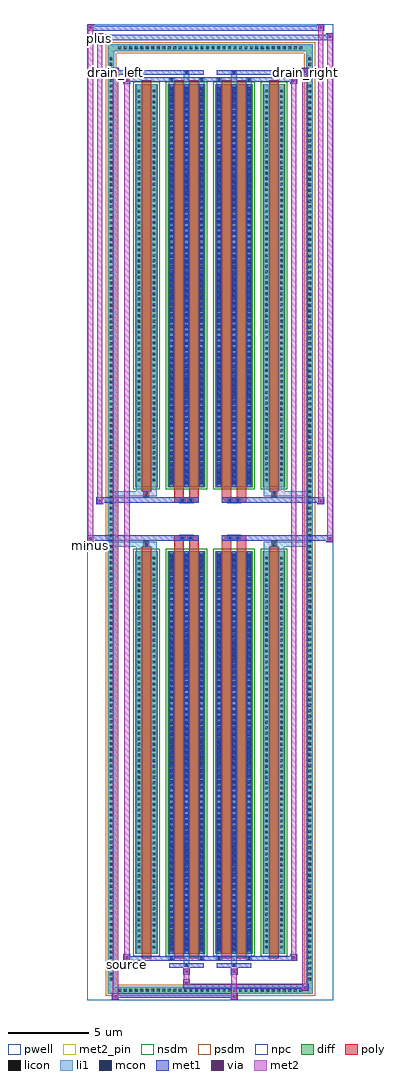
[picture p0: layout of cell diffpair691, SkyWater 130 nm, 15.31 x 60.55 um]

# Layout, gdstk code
import gdstk
lib = gdstk.Library(unit=1e-6, precision=5e-09)
def R(c, l, rs):  # rectangles x0, y0, x1, y1
    for r in rs: c.add(gdstk.rectangle(r[:2], r[2:], *l))
def A(c, l, x, y, w, h, nx, ny, dx, dy):  # array of equal rectangles
    R(c, l, [(x+i*dx, y+j*dy, x+i*dx+w, y+j*dy+h) for i in range(nx) for j in range(ny)])
def P(c, l, *ps):  # polygons
    for p in ps: c.add(gdstk.Polygon(p, *l))
pwell = (64, 44)
diff = (65, 20)
poly = (66, 20)
licon = (66, 44)
li1 = (67, 20)
mcon = (67, 44)
met1 = (68, 20)
via = (68, 44)
met2_pin = (69, 16)
met2 = (69, 20)
nsdm = (93, 44)
psdm = (94, 20)
npc = (95, 20)

diffpair691 = lib.new_cell('diffpair691')
R(diffpair691, pwell, [(-7.64,-29.84,7.64,30.71), (-4.96,-28.03,-0.01,-0.805), (0.01,-28.03,4.96,-0.805), (-4.96,0.805,-0.01,28.03), (0.01,0.805,4.96,28.03)])
A(diffpair691, diff, -5.815, -29.44, 0.41, 0.41, 34, 2, 0.34, 58.47)
A(diffpair691, diff, -6.37, -28.765, 0.41, 0.41, 1, 169, 0, 0.34)
A(diffpair691, diff, 5.96, -28.765, 0.41, 0.41, 1, 169, 0, 0.34)
R(diffpair691, diff, [(-5.815,-29.44,5.815,-29.03), (-6.37,-28.765,-5.96,28.765), (5.96,-28.765,6.37,28.765), (-4.65,-26.985,-3.27,-1.985), (-2.63,-26.985,-0.32,-1.985), (0.32,-26.985,2.63,-1.985), (3.27,-26.985,4.65,-1.985), (-4.65,1.985,-3.27,26.985), (-2.63,1.985,-0.32,26.985), (0.32,1.985,2.63,26.985), (3.27,1.985,4.65,26.985), (-5.815,29.03,5.815,29.44)])
P(diffpair691, diff, [(6.37,29.44),(-6.37,29.44),(-6.37,-29.03),(-5.96,-29.03),(-5.96,29.03),(5.96,29.03),(5.96,-29.03),(-5.96,-29.03),(-6.37,-29.03),(-6.37,-29.44),(6.37,-29.44)])
R(diffpair691, poly, [(-4.26,-27.235,-3.66,-1.735), (-2.24,-27.235,-1.64,-1.735), (-1.31,-27.235,-0.71,-1.735), (0.71,-27.235,1.31,-1.735), (1.64,-27.235,2.24,-1.735), (3.66,-27.235,4.26,-1.735), (-4.125,-1.735,-3.795,-1.405), (-4.125,-1.735,-3.795,-1.405), (-2.24,-1.735,-1.64,-1.335), (-1.31,-1.735,-0.71,-1.335), (0.71,-1.735,1.31,-1.335), (1.64,-1.735,2.24,-1.335), (3.795,-1.735,4.125,-1.405), (3.795,-1.735,4.125,-1.405), (-2.24,-1.335,-0.71,-1.005), (-1.89,-1.335,-1.56,-1.005), (-1.39,-1.335,-1.06,-1.005), (0.71,-1.335,2.24,-1.005), (1.06,-1.335,1.39,-1.005), (1.56,-1.335,1.89,-1.005), (-2.24,1.005,-0.71,1.335), (-1.89,1.005,-1.56,1.335), (-1.39,1.005,-1.06,1.335), (0.71,1.005,2.24,1.335), (1.06,1.005,1.39,1.335), (1.56,1.005,1.89,1.335), (-2.24,1.335,-1.64,1.735), (-1.31,1.335,-0.71,1.735), (0.71,1.335,1.31,1.735), (1.64,1.335,2.24,1.735), (-4.125,1.405,-3.795,1.735), (-4.125,1.405,-3.795,1.735), (3.795,1.405,4.125,1.735), (3.795,1.405,4.125,1.735), (-4.26,1.735,-3.66,27.235), (-2.24,1.735,-1.64,27.235), (-1.31,1.735,-0.71,27.235), (0.71,1.735,1.31,27.235), (1.64,1.735,2.24,27.235), (3.66,1.735,4.26,27.235)])
A(diffpair691, licon, -5.695, -29.32, 0.17, 0.17, 34, 2, 0.34, 58.47)
A(diffpair691, licon, -6.25, -28.645, 0.17, 0.17, 1, 169, 0, 0.34)
A(diffpair691, licon, 6.08, -28.645, 0.17, 0.17, 1, 169, 0, 0.34)
A(diffpair691, licon, -4.51, -26.64, 0.17, 0.17, 1, 72, 0, 0.34)
A(diffpair691, licon, -3.58, -26.64, 0.17, 0.17, 1, 72, 0, 0.34)
A(diffpair691, licon, -2.49, -26.64, 0.17, 0.17, 3, 72, 0.93, 0.34)
A(diffpair691, licon, 0.46, -26.64, 0.17, 0.17, 3, 72, 0.93, 0.34)
A(diffpair691, licon, 3.41, -26.64, 0.17, 0.17, 1, 72, 0, 0.34)
A(diffpair691, licon, 4.34, -26.64, 0.17, 0.17, 1, 72, 0, 0.34)
A(diffpair691, licon, -4.51, 2.33, 0.17, 0.17, 1, 72, 0, 0.34)
A(diffpair691, licon, -3.58, 2.33, 0.17, 0.17, 1, 72, 0, 0.34)
A(diffpair691, licon, -2.49, 2.33, 0.17, 0.17, 3, 72, 0.93, 0.34)
A(diffpair691, licon, 0.46, 2.33, 0.17, 0.17, 3, 72, 0.93, 0.34)
A(diffpair691, licon, 3.41, 2.33, 0.17, 0.17, 1, 72, 0, 0.34)
A(diffpair691, licon, 4.34, 2.33, 0.17, 0.17, 1, 72, 0, 0.34)
R(diffpair691, licon, [(-4.045,-1.655,-3.875,-1.485), (3.875,-1.655,4.045,-1.485), (-1.81,-1.255,-1.64,-1.085), (-1.31,-1.255,-1.14,-1.085), (1.14,-1.255,1.31,-1.085), (1.64,-1.255,1.81,-1.085), (-1.81,1.085,-1.64,1.255), (-1.31,1.085,-1.14,1.255), (1.14,1.085,1.31,1.255), (1.64,1.085,1.81,1.255), (-4.045,1.485,-3.875,1.655), (3.875,1.485,4.045,1.655)])
A(diffpair691, li1, -5.775, -29.4, 0.33, 0.33, 34, 2, 0.34, 58.47)
A(diffpair691, li1, -6.33, -28.725, 0.33, 0.33, 1, 169, 0, 0.34)
A(diffpair691, li1, 6, -28.725, 0.33, 0.33, 1, 169, 0, 0.34)
A(diffpair691, li1, -2.57, -26.985, 0.33, 25, 3, 2, 0.93, 28.97)
A(diffpair691, li1, 0.38, -26.985, 0.33, 25, 3, 2, 0.93, 28.97)
A(diffpair691, li1, -2.49, -26.81, 0.17, 0.17, 3, 69, 0.93, 0.36)
A(diffpair691, li1, -2.49, -26.81, 0.17, 24.65, 3, 2, 0.93, 28.97)
A(diffpair691, li1, 0.46, -26.81, 0.17, 0.17, 3, 69, 0.93, 0.36)
A(diffpair691, li1, 0.46, -26.81, 0.17, 24.65, 3, 2, 0.93, 28.97)
A(diffpair691, li1, -4.59, -26.72, 0.33, 0.33, 1, 72, 0, 0.34)
A(diffpair691, li1, -3.66, -26.72, 0.33, 0.33, 1, 72, 0, 0.34)
A(diffpair691, li1, -2.57, -26.72, 0.33, 0.33, 3, 72, 0.93, 0.34)
A(diffpair691, li1, 0.38, -26.72, 0.33, 0.33, 3, 72, 0.93, 0.34)
A(diffpair691, li1, 3.33, -26.72, 0.33, 0.33, 1, 72, 0, 0.34)
A(diffpair691, li1, 4.26, -26.72, 0.33, 0.33, 1, 72, 0, 0.34)
A(diffpair691, li1, -2.49, 2.16, 0.17, 0.17, 3, 69, 0.93, 0.36)
A(diffpair691, li1, 0.46, 2.16, 0.17, 0.17, 3, 69, 0.93, 0.36)
A(diffpair691, li1, -4.59, 2.25, 0.33, 0.33, 1, 72, 0, 0.34)
A(diffpair691, li1, -3.66, 2.25, 0.33, 0.33, 1, 72, 0, 0.34)
A(diffpair691, li1, -2.57, 2.25, 0.33, 0.33, 3, 72, 0.93, 0.34)
A(diffpair691, li1, 0.38, 2.25, 0.33, 0.33, 3, 72, 0.93, 0.34)
A(diffpair691, li1, 3.33, 2.25, 0.33, 0.33, 1, 72, 0, 0.34)
A(diffpair691, li1, 4.26, 2.25, 0.33, 0.33, 1, 72, 0, 0.34)
R(diffpair691, li1, [(-6.37,-29.44,-5.96,-29.03), (-6.37,-29.44,-5.96,-29.03), (-5.96,-29.44,5.96,-29.03), (5.96,-29.44,6.37,-29.03), (5.96,-29.44,6.37,-29.03), (-6.37,-29.03,-5.96,29.03), (5.96,-29.03,6.37,29.03), (-1.64,-27.79,-1.31,-26.985), (-1.56,-27.79,-1.39,-27.62), (1.31,-27.79,1.64,-26.985), (1.39,-27.79,1.56,-27.62), (-2.57,-27.36,-2.24,-26.985), (-2.49,-27.36,-2.32,-27.19), (-0.71,-27.36,-0.38,-26.985), (-0.63,-27.36,-0.46,-27.19), (0.38,-27.36,0.71,-26.985), (0.46,-27.36,0.63,-27.19), (2.24,-27.36,2.57,-26.985), (2.32,-27.36,2.49,-27.19), (-4.59,-26.985,-4.26,-1.985), (-3.66,-26.985,-3.33,-1.985), (3.33,-26.985,3.66,-1.985), (4.26,-26.985,4.59,-1.985), (-4.59,-1.985,-4.26,-1.405), (-3.66,-1.985,-3.33,-1.405), (3.33,-1.985,3.66,-1.405), (4.26,-1.985,4.59,-1.405), (-6.37,-1.735,-4.125,-1.405), (-4.59,-1.735,-4.125,-1.405), (-4.125,-1.735,-3.795,-1.405), (-3.795,-1.735,-3.33,-1.405), (3.33,-1.735,3.795,-1.405), (3.795,-1.735,4.125,-1.405), (3.795,-1.735,6.37,-1.405), (4.125,-1.735,4.59,-1.405), (-1.89,-1.335,-1.56,-1.005), (-1.39,-1.335,-1.06,-1.005), (1.06,-1.335,1.39,-1.005), (1.56,-1.335,1.89,-1.005), (-1.89,1.005,-1.56,1.335), (-1.39,1.005,-1.06,1.335), (1.06,1.005,1.39,1.335), (1.56,1.005,1.89,1.335), (-6.37,1.405,-4.125,1.735), (-4.59,1.405,-4.125,1.735), (-4.59,1.405,-4.26,1.985), (-4.125,1.405,-3.795,1.735), (-3.795,1.405,-3.33,1.735), (-3.66,1.405,-3.33,1.985), (3.33,1.405,3.795,1.735), (3.33,1.405,3.66,1.985), (3.795,1.405,4.125,1.735), (3.795,1.405,6.37,1.735), (4.125,1.405,4.59,1.735), (4.26,1.405,4.59,1.985), (-4.59,1.985,-4.26,26.985), (-3.66,1.985,-3.33,26.985), (3.33,1.985,3.66,26.985), (4.26,1.985,4.59,26.985), (-2.57,26.985,-2.24,27.36), (-1.64,26.985,-1.31,27.79), (-0.71,26.985,-0.38,27.36), (0.38,26.985,0.71,27.36), (1.31,26.985,1.64,27.79), (2.24,26.985,2.57,27.36), (-2.49,27.19,-2.32,27.36), (-0.63,27.19,-0.46,27.36), (0.46,27.19,0.63,27.36), (2.32,27.19,2.49,27.36), (-1.56,27.62,-1.39,27.79), (1.39,27.62,1.56,27.79), (-6.37,29.03,-5.96,29.44), (-6.37,29.03,-5.96,29.44), (-5.96,29.03,5.96,29.44), (5.96,29.03,6.37,29.44), (5.96,29.03,6.37,29.44)])
A(diffpair691, mcon, -2.49, -26.81, 0.17, 0.17, 3, 69, 0.93, 0.36)
A(diffpair691, mcon, 0.46, -26.81, 0.17, 0.17, 3, 69, 0.93, 0.36)
A(diffpair691, mcon, -2.49, 2.16, 0.17, 0.17, 3, 69, 0.93, 0.36)
A(diffpair691, mcon, 0.46, 2.16, 0.17, 0.17, 3, 69, 0.93, 0.36)
R(diffpair691, mcon, [(-1.56,-27.79,-1.39,-27.62), (1.39,-27.79,1.56,-27.62), (-2.49,-27.36,-2.32,-27.19), (-0.63,-27.36,-0.46,-27.19), (0.46,-27.36,0.63,-27.19), (2.32,-27.36,2.49,-27.19), (-1.81,-1.255,-1.64,-1.085), (-1.31,-1.255,-1.14,-1.085), (1.14,-1.255,1.31,-1.085), (1.64,-1.255,1.81,-1.085), (-1.81,1.085,-1.64,1.255), (-1.31,1.085,-1.14,1.255), (1.14,1.085,1.31,1.255), (1.64,1.085,1.81,1.255), (-2.49,27.19,-2.32,27.36), (-0.63,27.19,-0.46,27.36), (0.46,27.19,0.63,27.36), (2.32,27.19,2.49,27.36), (-1.56,27.62,-1.39,27.79), (1.39,27.62,1.56,27.79)])
A(diffpair691, met1, -2.55, -26.985, 0.29, 25, 3, 2, 0.93, 28.97)
A(diffpair691, met1, 0.4, -26.985, 0.29, 25, 3, 2, 0.93, 28.97)
A(diffpair691, met1, -2.55, -26.87, 0.29, 0.29, 3, 69, 0.93, 0.36)
A(diffpair691, met1, 0.4, -26.87, 0.29, 0.29, 3, 69, 0.93, 0.36)
A(diffpair691, met1, -2.55, 2.1, 0.29, 0.29, 3, 69, 0.93, 0.36)
A(diffpair691, met1, 0.4, 2.1, 0.29, 0.29, 3, 69, 0.93, 0.36)
R(diffpair691, met1, [(-6.1,-29.84,-5.67,-29.41), (1.26,-29.84,1.69,-29.41), (-6.1,-29.7,1.69,-29.41), (5.67,-29.27,6.1,-28.84), (-1.69,-29.13,6.1,-28.84), (-1.69,-28.99,-1.26,-28.56), (-1.69,-28.28,-1.26,-27.85), (1.26,-28.28,1.69,-27.85), (-2.55,-27.85,-0.4,-27.56), (-1.62,-27.85,-1.33,-27.56), (0.4,-27.85,2.55,-27.56), (1.33,-27.85,1.62,-27.56), (-5.39,-27.42,-4.96,-26.99), (-5.39,-27.42,-2.55,-27.13), (-2.55,-27.42,-2.26,-27.13), (-2.55,-27.42,-0.4,-27.13), (-0.69,-27.42,-0.4,-27.13), (-0.4,-27.42,0.4,-27.13), (0.4,-27.42,0.69,-27.13), (0.4,-27.42,2.55,-27.13), (2.26,-27.42,2.55,-27.13), (2.55,-27.42,5.39,-27.13), (4.96,-27.42,5.39,-26.99), (-7.64,-1.435,-7.21,-1.005), (7.21,-1.435,7.64,-1.005), (-7.64,-1.335,-0.71,-1.005), (-2.24,-1.335,-0.71,-1.005), (0.71,-1.335,2.24,-1.005), (0.71,-1.335,7.64,-1.005), (-1.87,-1.315,-1.58,-1.025), (-1.37,-1.315,-1.08,-1.025), (1.08,-1.315,1.37,-1.025), (1.58,-1.315,1.87,-1.025), (-7.07,0.905,-6.64,1.335), (6.64,0.905,7.07,1.335), (-7.07,1.005,-2.24,1.335), (-2.24,1.005,-0.71,1.335), (0.71,1.005,2.24,1.335), (2.24,1.005,7.07,1.335), (-1.87,1.025,-1.58,1.315), (-1.37,1.025,-1.08,1.315), (1.08,1.025,1.37,1.315), (1.58,1.025,1.87,1.315), (-5.39,26.99,-4.96,27.42), (4.96,26.99,5.39,27.42), (-5.39,27.13,-2.55,27.42), (-2.55,27.13,-2.26,27.42), (-2.55,27.13,-0.4,27.42), (-0.69,27.13,-0.4,27.42), (-0.4,27.13,0.4,27.42), (0.4,27.13,0.69,27.42), (0.4,27.13,2.55,27.42), (2.26,27.13,2.55,27.42), (2.55,27.13,5.39,27.42), (-6.1,27.56,-5.67,27.99), (-6.1,27.56,-2.55,27.85), (-2.55,27.56,-0.4,27.85), (-1.62,27.56,-1.33,27.85), (0.4,27.56,2.55,27.85), (1.33,27.56,1.62,27.85), (2.55,27.56,6.1,27.85), (5.67,27.56,6.1,27.99), (-7.07,29.71,-6.64,30.14), (-7.07,29.71,-4.96,30.04), (-4.96,29.71,4.96,30.04), (4.96,29.71,7.64,30.04), (7.21,29.71,7.64,30.14), (-7.64,30.28,-7.21,30.71), (-7.64,30.28,-4.96,30.61), (-4.96,30.28,4.96,30.61), (4.96,30.28,7.07,30.61), (6.64,30.28,7.07,30.71)])
R(diffpair691, via, [(-5.96,-29.7,-5.81,-29.55), (1.4,-29.7,1.55,-29.55), (5.81,-29.13,5.96,-28.98), (-1.55,-28.85,-1.4,-28.7), (-1.55,-28.14,-1.4,-27.99), (1.4,-28.14,1.55,-27.99), (-5.25,-27.28,-5.1,-27.13), (5.1,-27.28,5.25,-27.13), (-7.5,-1.295,-7.35,-1.145), (7.35,-1.295,7.5,-1.145), (-6.93,1.045,-6.78,1.195), (6.78,1.045,6.93,1.195), (-5.25,27.13,-5.1,27.28), (5.1,27.13,5.25,27.28), (-5.96,27.7,-5.81,27.85), (5.81,27.7,5.96,27.85), (-6.93,29.85,-6.78,30), (7.35,29.85,7.5,30), (-7.5,30.42,-7.35,30.57), (6.78,30.42,6.93,30.57)])
R(diffpair691, met2_pin, [(-5.425,-27.87,-4.925,-27.37), (-7.675,-1.885,-7.175,-1.385), (-6.135,27.44,-5.635,27.94), (5.635,27.44,6.135,27.94), (-7.105,29.59,-6.605,30.09)])
R(diffpair691, met2, [(-6.05,-29.79,-5.72,-29.46), (-6.05,-29.79,-5.72,27.94), (1.31,-29.79,1.64,-29.46), (1.31,-29.46,1.64,-28.23), (5.72,-29.22,6.05,-28.89), (5.72,-29.22,6.05,27.94), (-1.64,-28.94,-1.31,-28.61), (-1.64,-28.61,-1.31,-28.23), (-1.64,-28.23,-1.31,-27.9), (1.31,-28.23,1.64,-27.9), (-5.34,-27.37,-5.01,-27.04), (-5.34,-27.37,-5.01,27.37), (5.01,-27.37,5.34,-27.04), (5.01,-27.37,5.34,27.37), (-7.59,-1.385,-7.26,-1.055), (-7.59,-1.385,-7.26,30.66), (7.26,-1.385,7.59,-1.055), (7.26,-1.385,7.59,30.09), (-7.02,0.955,-6.69,1.285), (-7.02,0.955,-6.69,30.09), (6.69,0.955,7.02,1.285), (6.69,0.955,7.02,30.66), (-5.34,27.04,-5.01,27.37), (5.01,27.04,5.34,27.37), (-6.05,27.61,-5.72,27.94), (5.72,27.61,6.05,27.94), (-7.02,29.76,-6.69,30.09), (7.26,29.76,7.59,30.09), (-7.59,30.33,-7.26,30.66), (6.69,30.33,7.02,30.66)])
P(diffpair691, met2, [(7.59,-1.385),(7.59,-1.385),(7.59,-1.055),(7.59,-1.055)],
  [(7.59,29.76),(7.59,29.76),(7.59,30.09),(7.59,30.09)],
  [(-7.26,-1.385),(-7.26,-1.385),(-7.26,-1.055),(-7.26,-1.055)],
  [(-7.26,30.33),(-7.26,30.33),(-7.26,30.66),(-7.26,30.66)],
  [(7.02,0.955),(7.02,0.955),(7.02,1.285),(7.02,1.285)],
  [(7.02,30.33),(7.02,30.33),(7.02,30.66),(7.02,30.66)],
  [(-6.69,0.955),(-6.69,0.955),(-6.69,1.285),(-6.69,1.285)],
  [(-6.69,29.76),(-6.69,29.76),(-6.69,30.09),(-6.69,30.09)],
  [(-5.72,-29.79),(-5.72,-29.79),(-5.72,-29.46),(-5.72,-29.46)],
  [(-5.72,27.61),(-5.72,27.61),(-5.72,27.94),(-5.72,27.94)],
  [(6.05,-29.22),(6.05,-29.22),(6.05,-28.89),(6.05,-28.89)],
  [(6.05,27.61),(6.05,27.61),(6.05,27.94),(6.05,27.94)],
  [(-5.01,-27.37),(-5.01,-27.37),(-5.01,-27.04),(-5.01,-27.04)],
  [(-5.01,27.04),(-5.01,27.04),(-5.01,27.37),(-5.01,27.37)],
  [(5.34,-27.37),(5.34,-27.37),(5.34,-27.04),(5.34,-27.04)],
  [(5.34,27.04),(5.34,27.04),(5.34,27.37),(5.34,27.37)])
R(diffpair691, nsdm, [(-4.78,-27.115,-3.14,-1.855), (-2.76,-27.115,-0.19,-1.855), (0.19,-27.115,2.76,-1.855), (3.14,-27.115,4.78,-1.855), (-4.78,1.855,-3.14,27.115), (-2.76,1.855,-0.19,27.115), (0.19,1.855,2.76,27.115), (3.14,1.855,4.78,27.115)])
P(diffpair691, psdm, [(6.5,29.57),(-6.5,29.57),(-6.5,-28.9),(-5.83,-28.9),(-5.83,28.9),(5.83,28.9),(5.83,-28.9),(-5.83,-28.9),(-6.5,-28.9),(-6.5,-29.57),(6.5,-29.57)])
R(diffpair691, npc, [(-4.145,-1.755,-3.775,-1.385), (3.775,-1.755,4.145,-1.385), (-1.91,-1.355,-1.54,-0.985), (-1.91,-1.355,-1.04,-0.985), (-1.91,-1.355,-1.04,-0.985), (-1.41,-1.355,-1.04,-0.985), (1.04,-1.355,1.41,-0.985), (1.04,-1.355,1.91,-0.985), (1.04,-1.355,1.91,-0.985), (1.54,-1.355,1.91,-0.985), (-1.91,0.985,-1.54,1.355), (-1.91,0.985,-1.04,1.355), (-1.91,0.985,-1.04,1.355), (-1.41,0.985,-1.04,1.355), (1.04,0.985,1.41,1.355), (1.04,0.985,1.91,1.355), (1.04,0.985,1.91,1.355), (1.54,0.985,1.91,1.355), (-4.145,1.385,-3.775,1.755), (3.775,1.385,4.145,1.755)])
diffpair691.add(gdstk.Label('minus', (-7.425,-1.635), layer=69, texttype=5))
diffpair691.add(gdstk.Label('drain_right', (5.885,27.69), layer=69, texttype=5))
diffpair691.add(gdstk.Label('drain_left', (-5.885,27.69), layer=69, texttype=5))
diffpair691.add(gdstk.Label('source', (-5.175,-27.62), layer=69, texttype=5))
diffpair691.add(gdstk.Label('plus', (-6.855,29.84), layer=69, texttype=5))

lib.write_gds('diffpair691.gds')
